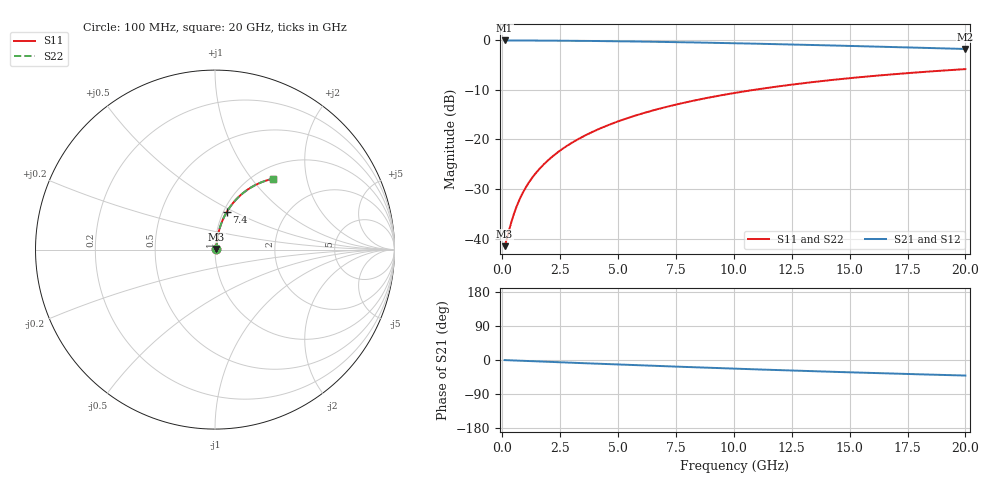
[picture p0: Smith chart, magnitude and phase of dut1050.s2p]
! Touchstone file exported from HFSS 2024.1.0
!  File:  C:/UserFiles/LocalFiles/RDL_TSV_Batchsim/temp_RDL_top_1050_1780044421.aedt
!  Generated:  04:49:27 PM May 29, 2026
!  Design:  RDL_top
!  Project:  temp_RDL_top_1050_1780044421
!  Setup:  Setup1
!  Solution:  Sweep
! Variables:
!  dtsv = 10.80580581um
!  hbump = 3um
!  htsv = 66.6um
!  ldown = 100um
!  lrdl = 455.62um
!  p = 40
!  p1 = 56.37um
!  rhole = 1um
!  t = 450um
!  tdown = 3.915915916um
!  trdl = 2.06um
!  wdown = 15.38538539um
!  wrdl = 10.17um
# GHz S MA R 50.000000
! Terminal data exported
! Port[1] = Box2_T1
! Port[2] = Box2_T2
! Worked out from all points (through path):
!   200 points, 100 MHz to 20 GHz, reference 50 ohm
!   highest |S21| = -0.07 dB at 100 MHz (marker M1); lowest = -1.8 dB at 20 GHz (marker M2)
!   group delay of S21, straight-line fit = 5.71 ps
!   lowest |S11| = -41.5 dB at 100 MHz (marker M3), VSWR 1.02, Z = 50.8 + j0.318 ohm
!   |S11| at or under -10 dB: start of sweep to 10.91 GHz
!   |S22| runs from -41.5 to -5.8 dB; largest |S21 - S12| = 5.8e-15
!   S11 on the Smith chart (normalised r, x): 100 MHz: 1.02, +0.01; 7.4 GHz: 1.04, +0.46; 20 GHz: 1.21, +1.29
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0.1  0.00837 22.0  0.9922 -0.2  0.9922 -0.2  0.00837 22.0
! Gamma 0 0 0 0
! Port Impedance 50 0 50 0
0.2  0.01002 38.7  0.9922 -0.5  0.9922 -0.5  0.01002 38.7
0.4  0.01487 57.2  0.992 -1.0  0.992 -1.0  0.01487 57.2
0.5  0.01763 62.2  0.9919 -1.2  0.9919 -1.2  0.01763 62.2
0.7  0.0234 68.4  0.9916 -1.7  0.9916 -1.7  0.0234 68.4
0.8  0.02635 70.3  0.9914 -2.0  0.9914 -2.0  0.02635 70.3
1  0.03229 73.1  0.991 -2.4  0.991 -2.4  0.03229 73.1
1.3  0.04124 75.5  0.9903 -3.2  0.9903 -3.2  0.04124 75.5
1.7  0.0532 77.1  0.9892 -4.1  0.9892 -4.1  0.0532 77.1
2.2  0.06816 78.1  0.9877 -5.3  0.9877 -5.3  0.06816 78.1
2.8  0.08611 78.3  0.9855 -6.7  0.9855 -6.7  0.08611 78.3
3.5  0.107 78.0  0.9824 -8.4  0.9824 -8.4  0.107 78.0
4.2  0.1279 77.4  0.9787 -10.0  0.9787 -10.0  0.1279 77.4
5  0.1516 76.4  0.9738 -11.8  0.9738 -11.8  0.1516 76.4
5.9  0.178 75.0  0.9676 -13.9  0.9676 -13.9  0.178 75.0
6.8  0.204 73.6  0.9606 -15.9  0.9606 -15.9  0.204 73.6
7.4  0.2211 72.5  0.9555 -17.2  0.9555 -17.2  0.2211 72.5
8.7  0.2574 70.2  0.9437 -20.0  0.9437 -20.0  0.2574 70.2
10.1  0.2951 67.7  0.9297 -23.0  0.9297 -23.0  0.2951 67.7
13.4  0.3773 61.7  0.8931 -29.5  0.8931 -29.5  0.3772 61.7
16.7  0.449 56.0  0.8538 -35.5  0.8538 -35.5  0.449 56.0
20  0.5103 50.7  0.8142 -41.0  0.8142 -41.0  0.5102 50.7
